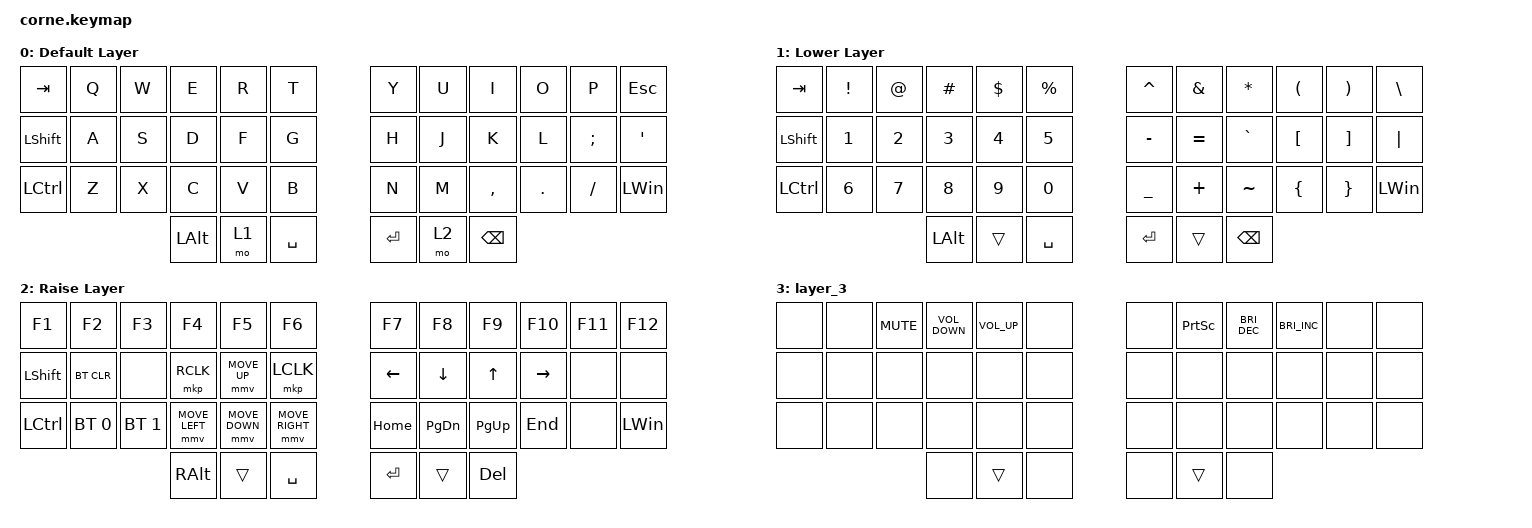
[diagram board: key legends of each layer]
/*
 * Copyright (c) 2020 The ZMK Contributors
 *
 * SPDX-License-Identifier: MIT
 */

#include <behaviors.dtsi>
#include <dt-bindings/zmk/bt.h>
#include <dt-bindings/zmk/keys.h>
#include <dt-bindings/zmk/pointing.h>

/ {
    combos {
        compatible = "zmk,combos";

        delete {
            bindings = <&kp DELETE>;
            key-positions = <41 36>;
        };

        layer_3 {
            bindings = <&mo 3>;
            key-positions = <37 40>;
        };
    };

    keymap {
        compatible = "zmk,keymap";

        default_layer {
            display-name = "Default Layer";

            // -----------------------------------------------------------------------------------------
            // |  TAB |  Q  |  W  |  E  |  R  |  T  |   |  Y  |  U   |  I  |  O  |  P  | BSPC |
            // | CTRL |  A  |  S  |  D  |  F  |  G  |   |  H  |  J   |  K  |  L  |  ;  |  '   |
            // | SHFT |  Z  |  X  |  C  |  V  |  B  |   |  N  |  M   |  ,  |  .  |  /  | ESC  |
            //                    | GUI | LWR | SPC |   | ENT | RSE  | ALT |

            bindings = <
&kp TAB           &kp Q  &kp W  &kp E         &kp R  &kp T        &kp Y      &kp U  &kp I          &kp O    &kp P     &kp ESCAPE
&kp LEFT_SHIFT    &kp A  &kp S  &kp D         &kp F  &kp G        &kp H      &kp J  &kp K          &kp L    &kp SEMI  &kp SQT
&kp LEFT_CONTROL  &kp Z  &kp X  &kp C         &kp V  &kp B        &kp N      &kp M  &kp COMMA      &kp DOT  &kp FSLH  &kp LEFT_WIN
                                &kp LEFT_ALT  &mo 1  &kp SPACE    &kp ENTER  &mo 2  &kp BACKSPACE
            >;
        };

        lower_layer {
            display-name = "Lower Layer";

            // -----------------------------------------------------------------------------------------
            // |  TAB |  1  |  2  |  3  |  4  |  5  |   |  6  |  7  |  8  |  9  |  0  | BSPC |
            // | BTCLR| BT1 | BT2 | BT3 | BT4 | BT5 |   | LFT | DWN |  UP | RGT |     |      |
            // | SHFT |     |     |     |     |     |   |     |     |     |     |     |      |
            //                    | GUI |     | SPC |   | ENT |     | ALT |

            bindings = <
&kp TAB           &kp EXCLAMATION  &kp AT_SIGN   &kp HASH      &kp DOLLAR    &kp PERCENT    &kp CARET       &kp AMPERSAND  &kp ASTERISK   &kp LEFT_PARENTHESIS  &kp RIGHT_PARENTHESIS  &kp BACKSLASH
&kp LEFT_SHIFT    &kp NUMBER_1     &kp NUMBER_2  &kp NUMBER_3  &kp NUMBER_4  &kp N5         &kp MINUS       &kp EQUAL      &kp GRAVE      &kp LEFT_BRACKET      &kp RIGHT_BRACKET      &kp PIPE
&kp LEFT_CONTROL  &kp NUMBER_6     &kp N7        &kp N8        &kp N9        &kp N0         &kp UNDERSCORE  &kp PLUS       &kp TILDE      &kp LEFT_BRACE        &kp RIGHT_BRACE        &kp LEFT_WIN
                                                 &kp LEFT_ALT  &trans        &kp SPACE      &kp RET         &trans         &kp BACKSPACE
            >;
        };

        raise_layer {
            display-name = "Raise Layer";

            // -----------------------------------------------------------------------------------------
            // |  TAB |  !  |  @  |  #  |  $  |  %  |   |  ^  |  &  |  *  |  (  |  )  | BSPC |
            // | CTRL |     |     |     |     |     |   |  -  |  =  |  [  |  ]  |  \  |  `   |
            // | SHFT |     |     |     |     |     |   |  _  |  +  |  {  |  }  | "|" |  ~   |
            //                    | GUI |     | SPC |   | ENT |     | ALT |

            bindings = <
&kp F1            &kp F2        &kp F3        &kp F4          &kp F5          &kp F6             &kp F7    &kp F8          &kp F9        &kp F10    &kp F11  &kp F12
&kp LEFT_SHIFT    &bt BT_CLR    &none         &mkp RCLK       &mmv MOVE_UP    &mkp LCLK          &kp LEFT  &kp DOWN_ARROW  &kp UP_ARROW  &kp RIGHT  &none    &none
&kp LEFT_CONTROL  &bt BT_SEL 0  &bt BT_SEL 1  &mmv MOVE_LEFT  &mmv MOVE_DOWN  &mmv MOVE_RIGHT    &kp HOME  &kp PAGE_DOWN   &kp PAGE_UP   &kp END    &none    &kp LEFT_WIN
                                              &kp RIGHT_ALT   &trans          &kp SPACE          &kp RET   &trans          &kp DELETE
            >;
        };

        layer_3 {
            bindings = <
&none  &none  &kp K_MUTE  &kp C_VOLUME_DOWN  &kp C_VOLUME_UP  &none    &none  &kp PRINTSCREEN  &kp C_BRIGHTNESS_DEC  &kp C_BRIGHTNESS_INC  &none  &none
&none  &none  &none       &none              &none            &none    &none  &none            &none                 &none                 &none  &none
&none  &none  &none       &none              &none            &none    &none  &none            &none                 &none                 &none  &none
                          &none              &trans           &none    &none  &trans           &none
            >;
        };
    };
};
